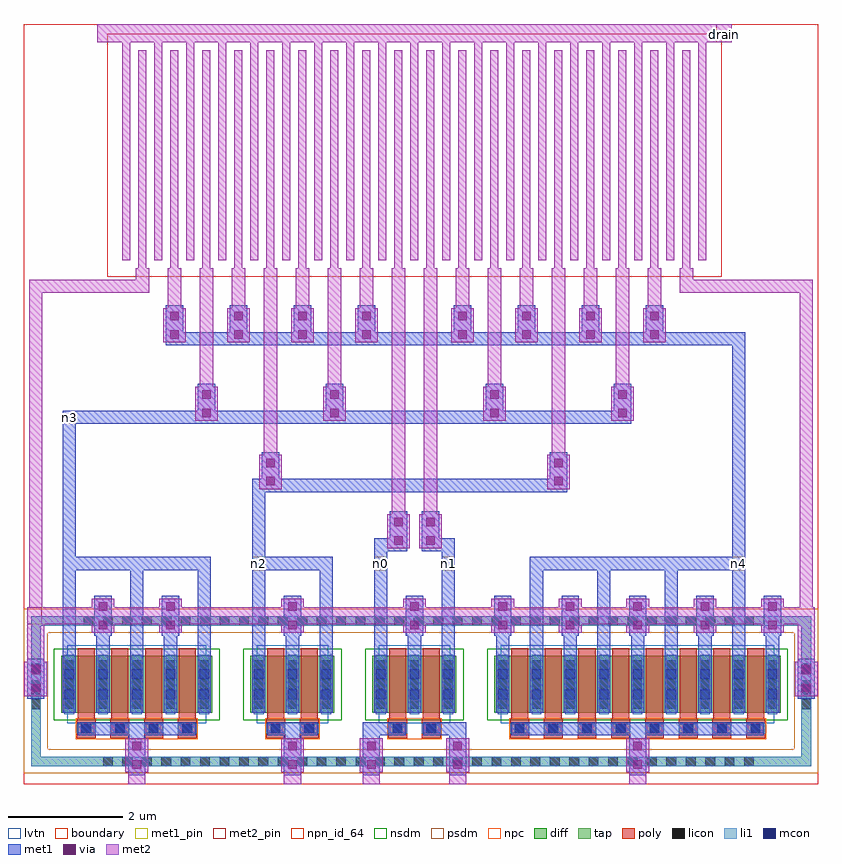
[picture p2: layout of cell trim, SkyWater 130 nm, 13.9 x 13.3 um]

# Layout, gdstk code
from math import pi, radians
import gdstk
lib = gdstk.Library(unit=1e-6, precision=1e-09)
def R(c, l, rs):  # rectangles x0, y0, x1, y1
    for r in rs: c.add(gdstk.rectangle(r[:2], r[2:], *l))
def A(c, l, x, y, w, h, nx, ny, dx, dy):  # array of equal rectangles
    R(c, l, [(x+i*dx, y+j*dy, x+i*dx+w, y+j*dy+h) for i in range(nx) for j in range(ny)])
diff = (65, 20)
tap = (65, 44)
poly = (66, 20)
licon = (66, 44)
li1 = (67, 20)
mcon = (67, 44)
met1_pin = (68, 16)
met1 = (68, 20)
via = (68, 44)
met2_pin = (69, 16)
met2 = (69, 20)
npn_id_64 = (82, 64)
nsdm = (93, 44)
psdm = (94, 20)
npc = (95, 20)
lvtn = (125, 44)
boundary = (235, 4)

via2 = lib.new_cell('via2')
R(via2, met1, [(0,-0.15,0.7,0.15)])
R(via2, via, [(0.115,-0.075,0.265,0.075), (0.435,-0.075,0.585,0.075)])
R(via2, met2, [(0.05,-0.2,0.65,0.2)])

via1_1 = lib.new_cell('via1_1')
R(via1_1, li1, [(0.03,-0.17,0.56,0)])
R(via1_1, mcon, [(0.03,-0.17,0.2,0), (0.39,-0.17,0.56,0)])
R(via1_1, met1, [(0,-0.2,0.59,0.03)])

m1_1 = lib.new_cell('M1_1')
R(m1_1, diff, [(-0.44,-0.545,0.44,0.455)])
R(m1_1, poly, [(-0.165,-0.985,0.165,-0.655), (-0.15,-0.655,0.15,0.585)])
A(m1_1, licon, -0.38, -0.47, 0.17, 0.17, 1, 3, 0, 0.34)
A(m1_1, licon, 0.21, -0.47, 0.17, 0.17, 1, 3, 0, 0.34)
R(m1_1, licon, [(-0.085,-0.905,0.085,-0.735)])
R(m1_1, li1, [(-0.165,-0.905,0.165,-0.735), (-0.38,-0.565,-0.21,0.475), (0.21,-0.565,0.38,0.475)])
R(m1_1, mcon, [(-0.085,-0.905,0.085,-0.735), (-0.38,-0.31,-0.21,-0.14), (0.21,-0.31,0.38,-0.14), (-0.38,0.05,-0.21,0.22), (0.21,0.05,0.38,0.22)])
R(m1_1, met1, [(-0.145,-0.935,0.145,-0.705), (-0.41,-0.545,-0.18,0.455), (0.18,-0.545,0.41,0.455)])
R(m1_1, nsdm, [(-0.565,-0.67,0.565,0.58)])
R(m1_1, npc, [(-0.185,-1.005,0.185,-0.635)])
R(m1_1, lvtn, [(-0.33,-0.725,0.33,0.635)])

guardring_n_2 = lib.new_cell('Guardring_N_2')
A(guardring_n_2, licon, 12.64, -4.805, 0.17, 0.17, 34, 1, 0.34, 0)
A(guardring_n_2, licon, 12.3, -2.345, 0.17, 0.17, 35, 1, 0.34, 0)
R(guardring_n_2, licon, [(11.38,-3.805,11.55,-3.635), (24.86,-3.805,25.03,-3.635), (11.38,-3.465,11.55,-3.295), (24.86,-3.465,25.03,-3.295)])
guardring_n_2.add(gdstk.FlexPath([(11.38,-2.26),(24.945,-2.26),(24.945,-4.72),(11.465,-4.72),(11.465,-2.26)], 0.17, ends="flush", simple_path=True, layer=67, datatype=20))  # li1
guardring_n_2.add(gdstk.FlexPath([(11.255,-2.26),(24.945,-2.26),(24.945,-4.72),(11.465,-4.72),(11.465,-2.26)], 0.42, ends="flush", simple_path=True, layer=94, datatype=20))  # psdm
guardring_n_2.add(gdstk.FlexPath([(11.38,-2.26),(24.945,-2.26),(24.945,-4.72),(11.465,-4.72),(11.465,-2.26)], 0.17, ends="flush", simple_path=True, layer=65, datatype=44))  # tap

trim_sw = lib.new_cell('trim_sw')
R(trim_sw, met1, [(0.945,0.655,3.005,0.885), (4.26,0.655,5.14,0.885)])
R(trim_sw, met2_pin, [(1.825,-0.2,2.125,0.005), (4.55,-0.2,4.85,0.005), (5.93,-0.2,6.23,0.005), (7.44,-0.2,7.74,0.005), (10.59,-0.2,10.89,0.005), (0.06,2.595,0.31,2.895)])
R(trim_sw, met2, [(1.825,-0.2,2.125,0.005), (4.55,-0.2,4.85,0.005), (5.93,-0.2,6.23,0.005), (7.44,-0.2,7.74,0.005), (10.59,-0.2,10.89,0.005)])
trim_sw.add(gdstk.FlexPath([(13.69,1.945),(13.69,2.745)], 0.3, ends="extended", simple_path=True, layer=69, datatype=20))  # met2
trim_sw.add(gdstk.FlexPath([(13.69,2.745),(0.21,2.745)], 0.3, ends="extended", simple_path=True, layer=69, datatype=20))  # met2
trim_sw.add(gdstk.FlexPath([(0.21,1.945),(0.21,2.745)], 0.3, ends="extended", simple_path=True, layer=69, datatype=20))  # met2
trim_sw.add(gdstk.FlexPath([(10.74,2.98),(10.74,2.16)], 0.23, ends="extended", simple_path=True, layer=68, datatype=20))  # met1
trim_sw.add(gdstk.FlexPath([(13.1,2.98),(13.1,2.16)], 0.23, ends="extended", simple_path=True, layer=68, datatype=20))  # met1
trim_sw.add(gdstk.FlexPath([(11.92,2.98),(11.92,2.16)], 0.23, ends="extended", simple_path=True, layer=68, datatype=20))  # met1
trim_sw.add(gdstk.FlexPath([(10.74,2.98),(10.74,2.16)], 0.23, ends="extended", simple_path=True, layer=68, datatype=20))  # met1
trim_sw.add(gdstk.FlexPath([(9.56,2.98),(9.56,2.16)], 0.23, ends="extended", simple_path=True, layer=68, datatype=20))  # met1
trim_sw.add(gdstk.FlexPath([(4.11,3.66),(5.29,3.66)], 0.23, ends="extended", simple_path=True, layer=68, datatype=20))  # met1
trim_sw.add(gdstk.FlexPath([(0.795,3.66),(3.155,3.66)], 0.23, ends="extended", simple_path=True, layer=68, datatype=20))  # met1
trim_sw.add(gdstk.FlexPath([(6.245,3.66),(6.245,2.16)], 0.23, ends="extended", simple_path=True, layer=68, datatype=20))  # met1
trim_sw.add(gdstk.FlexPath([(3.155,3.545),(3.155,2.16)], 0.23, ends="extended", simple_path=True, layer=68, datatype=20))  # met1
trim_sw.add(gdstk.FlexPath([(5.29,3.545),(5.29,2.16)], 0.23, ends="extended", simple_path=True, layer=68, datatype=20))  # met1
trim_sw.add(gdstk.FlexPath([(4.7,2.98),(4.7,2.16)], 0.23, ends="extended", simple_path=True, layer=68, datatype=20))  # met1
trim_sw.add(gdstk.FlexPath([(4.11,3.545),(4.11,2.16)], 0.23, ends="extended", simple_path=True, layer=68, datatype=20))  # met1
trim_sw.add(gdstk.FlexPath([(8.97,3.66),(8.97,2.16)], 0.23, ends="extended", simple_path=True, layer=68, datatype=20))  # met1
trim_sw.add(gdstk.FlexPath([(12.51,3.66),(12.51,2.16)], 0.23, ends="extended", simple_path=True, layer=68, datatype=20))  # met1
trim_sw.add(gdstk.FlexPath([(8.38,2.98),(8.38,2.16)], 0.23, ends="extended", simple_path=True, layer=68, datatype=20))  # met1
trim_sw.add(gdstk.FlexPath([(11.33,3.66),(11.33,2.16)], 0.23, ends="extended", simple_path=True, layer=68, datatype=20))  # met1
trim_sw.add(gdstk.FlexPath([(10.15,3.66),(10.15,2.16)], 0.23, ends="extended", simple_path=True, layer=68, datatype=20))  # met1
trim_sw.add(gdstk.FlexPath([(8.97,3.66),(12.51,3.66)], 0.23, ends="extended", simple_path=True, layer=68, datatype=20))  # met1
trim_sw.add(gdstk.FlexPath([(2.565,2.98),(2.565,2.16)], 0.23, ends="extended", simple_path=True, layer=68, datatype=20))  # met1
trim_sw.add(gdstk.FlexPath([(1.385,2.98),(1.385,2.16)], 0.23, ends="extended", simple_path=True, layer=68, datatype=20))  # met1
trim_sw.add(gdstk.FlexPath([(8.645,0.77),(12.835,0.77)], 0.23, ends="extended", simple_path=True, layer=68, datatype=20))  # met1
trim_sw.add(gdstk.FlexPath([(1.975,3.545),(1.975,2.16)], 0.23, ends="extended", simple_path=True, layer=68, datatype=20))  # met1
trim_sw.add(gdstk.FlexPath([(0.795,3.545),(0.795,2.16)], 0.23, ends="extended", simple_path=True, layer=68, datatype=20))  # met1
trim_sw.add(gdstk.FlexPath([(6.28,0.77),(6.045,0.77)], 0.23, ends="extended", simple_path=True, layer=68, datatype=20))  # met1
trim_sw.add(gdstk.FlexPath([(6.835,2.98),(6.835,2.16)], 0.23, ends="extended", simple_path=True, layer=68, datatype=20))  # met1
trim_sw.add(gdstk.FlexPath([(7.425,3.66),(7.425,2.16)], 0.23, ends="extended", simple_path=True, layer=68, datatype=20))  # met1
trim_sw.add(gdstk.FlexPath([(7.39,0.77),(7.625,0.77)], 0.23, ends="extended", simple_path=True, layer=68, datatype=20))  # met1
trim_sw.add(gdstk.Reference(via2, (13.69,1.99), rotation=3*pi/2, x_reflection=True))
trim_sw.add(gdstk.Reference(via1_1, (13.605,1.345), rotation=pi/2))
trim_sw.add(gdstk.Reference(via2, (0.21,1.99), rotation=3*pi/2, x_reflection=True))
trim_sw.add(gdstk.Reference(via1_1, (0.125,1.345), rotation=pi/2))
trim_sw.add(gdstk.Reference(via2, (13.1,3.095), rotation=3*pi/2, x_reflection=True))
trim_sw.add(gdstk.Reference(via2, (11.92,3.095), rotation=3*pi/2, x_reflection=True))
trim_sw.add(gdstk.Reference(via2, (10.74,3.095), rotation=3*pi/2, x_reflection=True))
trim_sw.add(gdstk.Reference(m1_1, (4.995,1.59)))
trim_sw.add(gdstk.Reference(m1_1, (4.405,1.59)))
trim_sw.add(gdstk.Reference(via2, (6.835,3.095), rotation=3*pi/2, x_reflection=True))
trim_sw.add(gdstk.Reference(via2, (4.7,3.095), rotation=3*pi/2, x_reflection=True))
trim_sw.add(gdstk.Reference(via2, (9.56,3.095), rotation=3*pi/2, x_reflection=True))
trim_sw.add(gdstk.Reference(via2, (2.565,3.095), rotation=3*pi/2, x_reflection=True))
trim_sw.add(gdstk.Reference(via2, (8.38,3.095), rotation=3*pi/2, x_reflection=True))
trim_sw.add(gdstk.Reference(m1_1, (1.09,1.59)))
trim_sw.add(gdstk.Reference(via2, (1.385,3.095), rotation=3*pi/2, x_reflection=True))
trim_sw.add(gdstk.Reference(m1_1, (2.86,1.59)))
trim_sw.add(gdstk.Reference(m1_1, (2.27,1.59)))
trim_sw.add(gdstk.Reference(m1_1, (1.68,1.59)))
trim_sw.add(gdstk.Reference(m1_1, (7.13,1.59)))
trim_sw.add(gdstk.Reference(via2, (6.08,0.655), rotation=3*pi/2, x_reflection=True))
trim_sw.add(gdstk.Reference(m1_1, (12.215,1.59)))
trim_sw.add(gdstk.Reference(m1_1, (10.445,1.59)))
trim_sw.add(gdstk.Reference(m1_1, (11.625,1.59)))
trim_sw.add(gdstk.Reference(m1_1, (11.035,1.59)))
trim_sw.add(gdstk.Reference(m1_1, (9.855,1.59)))
trim_sw.add(gdstk.Reference(m1_1, (9.265,1.59)))
trim_sw.add(gdstk.Reference(m1_1, (8.675,1.59)))
trim_sw.add(gdstk.Reference(m1_1, (12.805,1.59)))
trim_sw.add(gdstk.Reference(via2, (7.59,0.655), rotation=3*pi/2))
trim_sw.add(gdstk.Reference(via2, (4.7,0.655), rotation=3*pi/2))
trim_sw.add(gdstk.Reference(via2, (1.975,0.655), rotation=3*pi/2))
trim_sw.add(gdstk.Reference(via2, (10.74,0.655), rotation=3*pi/2))
trim_sw.add(gdstk.Reference(m1_1, (6.54,1.59)))
trim_sw.add(gdstk.Reference(guardring_n_2, (-11.255,4.915)))
trim_sw.add(gdstk.Label('d_0', (6.074,-0.09), layer=69, texttype=5))
trim_sw.add(gdstk.Label('d_1', (7.584,-0.09), layer=69, texttype=5))
trim_sw.add(gdstk.Label('d_2', (4.694,-0.09), layer=69, texttype=5))
trim_sw.add(gdstk.Label('d_3', (1.969,-0.09), layer=69, texttype=5))
trim_sw.add(gdstk.Label('d_4', (10.734,-0.09), layer=69, texttype=5))
trim_sw.add(gdstk.Label('vss', (0.185,2.745), layer=69, texttype=5))

c_c0 = lib.new_cell('C0')
R(c_c0, met2, [(0.72,0.12,0.86,3.93), (0.44,0.26,0.58,4.07), (1,0.26,1.14,4.07), (0,4.07,1.58,4.39)])
R(c_c0, npn_id_64, [(0.17,-0.03,1.41,4.22)])
c_c0.add(gdstk.FlexPath([(0.79,0.005),(0.79,-0.2)], 0.23, ends="extended", simple_path=True, layer=69, datatype=20))  # met2

trim_array = lib.new_cell('trim_array')
trim_array.add(gdstk.Reference(c_c0, (0.56,0.115)))
trim_array.add(gdstk.Reference(c_c0, (1.12,0.115)))
trim_array.add(gdstk.Reference(c_c0, (1.68,0.115)))
trim_array.add(gdstk.Reference(c_c0, (2.24,0.115)))
trim_array.add(gdstk.Reference(c_c0, (2.8,0.115)))
trim_array.add(gdstk.Reference(c_c0, (3.36,0.115)))
trim_array.add(gdstk.Reference(c_c0, (3.92,0.115)))
trim_array.add(gdstk.Reference(c_c0, (4.48,0.115)))
trim_array.add(gdstk.Reference(c_c0, (5.04,0.115)))
trim_array.add(gdstk.Reference(c_c0, (5.6,0.115)))
trim_array.add(gdstk.Reference(c_c0, (6.16,0.115)))
trim_array.add(gdstk.Reference(c_c0, (6.72,0.115)))
trim_array.add(gdstk.Reference(c_c0, (7.28,0.115)))
trim_array.add(gdstk.Reference(c_c0, (7.84,0.115)))
trim_array.add(gdstk.Reference(c_c0, (8.4,0.115)))
trim_array.add(gdstk.Reference(c_c0, (8.96,0.115)))
trim_array.add(gdstk.Reference(c_c0, (9.52,0.115)))
trim_array.add(gdstk.Reference(c_c0, (0,0.115)))

trim = lib.new_cell('trim')
R(trim, met1_pin, [(3.995,3.545,4.225,3.775), (6.13,3.545,6.36,3.775), (7.31,3.545,7.54,3.775), (12.395,3.545,12.625,3.775), (0.68,6.105,0.91,6.335)])
R(trim, met2_pin, [(12.115,12.78,12.385,13.1)])
R(trim, npc, [(0.905,0.585,3.045,0.955), (4.22,0.585,5.18,0.955), (6.355,0.585,7.315,0.955), (8.49,0.585,12.99,0.955)])
R(trim, boundary, [(0,-0.2,13.9,13.1)])
trim.add(gdstk.FlexPath([(3.755,8.245),(3.755,8.28)], 0.23, ends="extended", simple_path=True, layer=69, datatype=20))  # met2
trim.add(gdstk.FlexPath([(4.315,5.675),(4.315,8.28)], 0.23, ends="extended", simple_path=True, layer=69, datatype=20))  # met2
trim.add(gdstk.FlexPath([(4.875,8.245),(4.875,8.28)], 0.23, ends="extended", simple_path=True, layer=69, datatype=20))  # met2
trim.add(gdstk.FlexPath([(5.435,6.87),(5.435,8.28)], 0.23, ends="extended", simple_path=True, layer=69, datatype=20))  # met2
trim.add(gdstk.FlexPath([(5.995,8.245),(5.995,8.28)], 0.23, ends="extended", simple_path=True, layer=69, datatype=20))  # met2
trim.add(gdstk.FlexPath([(6.555,4.64),(6.555,8.28)], 0.23, ends="extended", simple_path=True, layer=69, datatype=20))  # met2
trim.add(gdstk.FlexPath([(3.195,6.87),(3.195,8.28)], 0.23, ends="extended", simple_path=True, layer=69, datatype=20))  # met2
trim.add(gdstk.FlexPath([(2.635,8.245),(2.635,8.28)], 0.23, ends="extended", simple_path=True, layer=69, datatype=20))  # met2
trim.add(gdstk.FlexPath([(2.635,8.245),(2.635,8.28)], 0.23, ends="extended", simple_path=True, layer=69, datatype=20))  # met2
trim.add(gdstk.FlexPath([(2.075,8.51),(0.21,8.51),(0.21,2.745)], 0.23, ends="extended", simple_path=True, layer=69, datatype=20))  # met2
trim.add(gdstk.FlexPath([(9.915,8.245),(9.915,8.28)], 0.23, ends="extended", simple_path=True, layer=69, datatype=20))  # met2
trim.add(gdstk.FlexPath([(9.355,5.675),(9.355,8.28)], 0.23, ends="extended", simple_path=True, layer=69, datatype=20))  # met2
trim.add(gdstk.FlexPath([(8.795,8.245),(8.795,8.28)], 0.23, ends="extended", simple_path=True, layer=69, datatype=20))  # met2
trim.add(gdstk.FlexPath([(8.235,6.87),(8.235,8.28)], 0.23, ends="extended", simple_path=True, layer=69, datatype=20))  # met2
trim.add(gdstk.FlexPath([(7.675,8.245),(7.675,8.28)], 0.23, ends="extended", simple_path=True, layer=69, datatype=20))  # met2
trim.add(gdstk.FlexPath([(7.115,4.64),(7.115,8.28)], 0.23, ends="extended", simple_path=True, layer=69, datatype=20))  # met2
trim.add(gdstk.FlexPath([(10.475,6.87),(10.475,8.28)], 0.23, ends="extended", simple_path=True, layer=69, datatype=20))  # met2
trim.add(gdstk.FlexPath([(11.035,8.245),(11.035,8.28)], 0.23, ends="extended", simple_path=True, layer=69, datatype=20))  # met2
trim.add(gdstk.FlexPath([(11.035,8.245),(11.035,8.28)], 0.23, ends="extended", simple_path=True, layer=69, datatype=20))  # met2
trim.add(gdstk.FlexPath([(11.595,8.51),(13.69,8.51),(13.69,2.745)], 0.23, ends="extended", simple_path=True, layer=69, datatype=20))  # met2
trim.add(gdstk.FlexPath([(6.245,3.66),(6.245,3.99),(6.59,3.99)], 0.23, ends="extended", simple_path=True, layer=68, datatype=20))  # met1
trim.add(gdstk.FlexPath([(7.425,3.66),(7.425,3.99),(7.08,3.99)], 0.23, ends="extended", simple_path=True, layer=68, datatype=20))  # met1
trim.add(gdstk.FlexPath([(2.9,7.595),(10.77,7.595)], 0.23, ends="extended", simple_path=True, layer=68, datatype=20))  # met1
trim.add(gdstk.FlexPath([(3.46,6.22),(10.21,6.22)], 0.23, ends="extended", simple_path=True, layer=68, datatype=20))  # met1
trim.add(gdstk.FlexPath([(10.77,7.595),(12.51,7.595),(12.51,3.66)], 0.23, ends="extended", simple_path=True, layer=68, datatype=20))  # met1
trim.add(gdstk.FlexPath([(4.58,5.025),(9.09,5.025)], 0.23, ends="extended", simple_path=True, layer=68, datatype=20))  # met1
trim.add(gdstk.FlexPath([(3.46,6.22),(0.795,6.22),(0.795,3.66)], 0.23, ends="extended", simple_path=True, layer=68, datatype=20))  # met1
trim.add(gdstk.FlexPath([(4.11,3.545),(4.11,5.025),(4.585,5.025)], 0.23, ends="extended", simple_path=True, layer=68, datatype=20))  # met1
trim.add(gdstk.Reference(trim_sw, (0,0)))
trim.add(gdstk.Reference(via2, (3.755,7.48), rotation=pi/2, x_reflection=True))
trim.add(gdstk.Reference(via2, (4.315,4.91), rotation=pi/2, x_reflection=True))
trim.add(gdstk.Reference(via2, (4.875,7.48), rotation=pi/2, x_reflection=True))
trim.add(gdstk.Reference(via2, (5.435,6.105), rotation=pi/2, x_reflection=True))
trim.add(gdstk.Reference(via2, (5.995,7.48), rotation=pi/2, x_reflection=True))
trim.add(gdstk.Reference(trim_array, (1.285,8.595)))
trim.add(gdstk.Reference(via2, (6.555,3.875), rotation=pi/2, x_reflection=True))
trim.add(gdstk.Reference(via2, (3.195,6.105), rotation=pi/2, x_reflection=True))
trim.add(gdstk.Reference(via2, (2.635,7.48), rotation=pi/2, x_reflection=True))
trim.add(gdstk.Reference(via2, (9.915,7.48), rotation=pi/2))
trim.add(gdstk.Reference(via2, (9.355,4.91), rotation=pi/2))
trim.add(gdstk.Reference(via2, (8.795,7.48), rotation=pi/2))
trim.add(gdstk.Reference(via2, (8.235,6.105), rotation=pi/2))
trim.add(gdstk.Reference(via2, (7.675,7.48), rotation=pi/2))
trim.add(gdstk.Reference(via2, (7.115,3.875), rotation=pi/2))
trim.add(gdstk.Reference(via2, (10.475,6.105), rotation=pi/2))
trim.add(gdstk.Reference(via2, (11.035,7.48), rotation=pi/2))
trim.add(gdstk.Label('drain', (12.255,12.925), layer=69, texttype=5))
trim.add(gdstk.Label('n3', (0.795,6.22), layer=68, texttype=5))
trim.add(gdstk.Label('n4', (12.51,3.66), layer=68, texttype=5))
trim.add(gdstk.Label('n2', (4.11,3.66), layer=68, texttype=5))
trim.add(gdstk.Label('n1', (7.425,3.66), layer=68, texttype=5))
trim.add(gdstk.Label('n0', (6.245,3.66), layer=68, texttype=5))

lib.write_gds('trim.gds')
